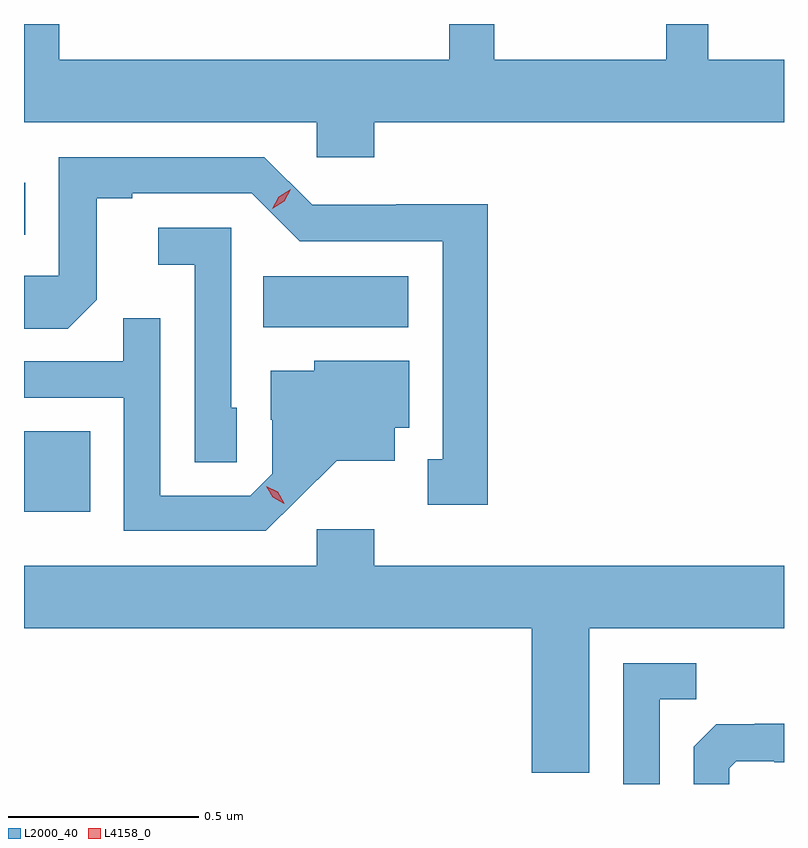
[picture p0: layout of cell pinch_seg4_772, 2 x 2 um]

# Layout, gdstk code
import gdstk
lib = gdstk.Library(unit=1e-6, precision=1e-09)
def R(c, l, rs):  # rectangles x0, y0, x1, y1
    for r in rs: c.add(gdstk.rectangle(r[:2], r[2:], *l))
def P(c, l, *ps):  # polygons
    for p in ps: c.add(gdstk.Polygon(p, *l))
L2000_40 = (2000, 40)
L4158_0 = (4158, 0)

pinch_seg4_772 = lib.new_cell('pinch_seg4_772')
R(pinch_seg4_772, L2000_40, [(768.772,818.438,768.946,818.65), (769.402,818.924,769.783,819.058), (768.772,819.168,768.775,819.304)])
P(pinch_seg4_772, L2000_40, [(768.772,819.722),(768.772,819.464),(769.542,819.464),(769.542,819.371),(769.694,819.371),(769.694,819.464),(770.772,819.464),(770.772,819.628),(770.572,819.628),(770.572,819.722),(770.462,819.722),(770.462,819.628),(770.009,819.628),(770.009,819.722),(769.891,819.722),(769.891,819.628),(768.865,819.628),(768.865,819.722)],
  [(769.993,819.248),(769.752,819.248),(769.752,819.246),(769.53,819.246),(769.404,819.372),(768.864,819.372),(768.864,819.06),(768.772,819.06),(768.772,818.92),(768.887,818.92),(768.963,818.996),(768.963,819.264),(769.057,819.264),(769.057,819.276),(769.371,819.276),(769.497,819.15),(769.874,819.15),(769.874,818.577),(769.835,818.577),(769.835,818.457),(769.993,818.457)],
  [(769.332,818.712),(769.317,818.712),(769.317,819.186),(769.125,819.186),(769.125,819.089),(769.221,819.089),(769.221,818.569),(769.332,818.569)],
  [(769.492,818.471),(769.595,818.573),(769.747,818.573),(769.747,818.66),(769.786,818.66),(769.786,818.836),(769.536,818.836),(769.536,818.809),(769.421,818.809),(769.421,818.68),(769.425,818.68),(769.425,818.538),(769.368,818.481),(769.131,818.481),(769.131,818.948),(769.033,818.948),(769.033,818.835),(768.772,818.835),(768.772,818.739),(769.035,818.739),(769.035,818.388),(769.408,818.388)],
  [(770.26,818.132),(770.772,818.132),(770.772,818.296),(769.694,818.296),(769.694,818.392),(769.542,818.392),(769.542,818.296),(768.772,818.296),(768.772,818.132),(770.108,818.132),(770.108,817.752),(770.26,817.752)],
  [(770.445,817.945),(770.541,817.945),(770.541,818.04),(770.349,818.04),(770.349,817.722),(770.445,817.722)],
  [(770.628,817.764),(770.646,817.782),(770.746,817.782),(770.746,817.779),(770.772,817.779),(770.772,817.88),(770.695,817.88),(770.695,817.879),(770.594,817.879),(770.535,817.82),(770.535,817.722),(770.628,817.722)])
P(pinch_seg4_772, L4158_0, [(769.425,819.236),(769.425,819.236),(769.442,819.268),(769.474,819.287),(769.474,819.287),(769.474,819.287),(769.457,819.255),(769.425,819.236)],
  [(769.457,818.46),(769.426,818.476),(769.41,818.506),(769.41,818.506),(769.41,818.506),(769.44,818.491),(769.457,818.461),(769.457,818.46)])

lib.write_gds('pinch_seg4_772.gds')
